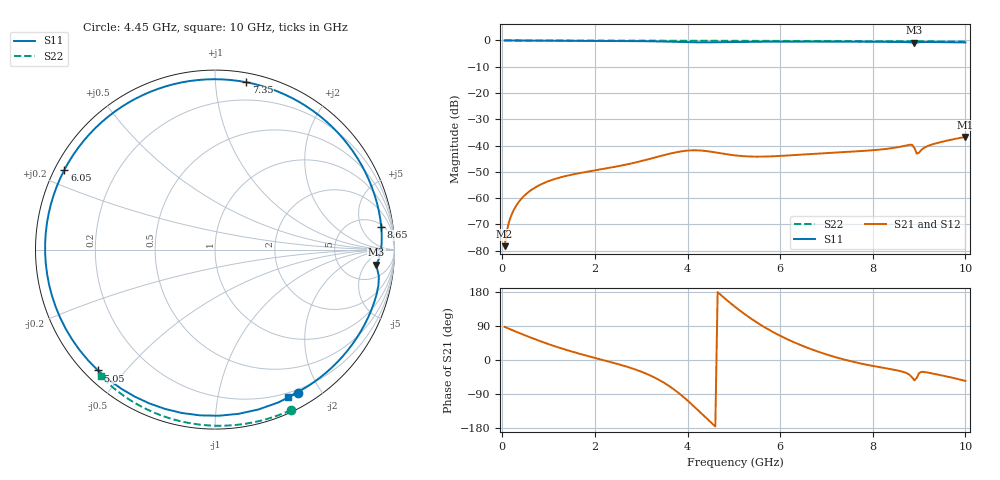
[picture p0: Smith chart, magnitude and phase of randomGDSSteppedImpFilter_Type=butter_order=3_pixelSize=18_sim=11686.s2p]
! freq	dB(S11)	phase(S11)	dB(S12)	phase(S12)
!  dB(S21)	phase(S21)	dB(S22)	phase(S22)
!S-par simulation data
#  GHz  S  DB  R 50
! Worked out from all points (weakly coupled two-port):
!   200 points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, 50 MHz to 10 GHz, reference 50 ohm
!   highest |S21| = -36.72 dB at 10 GHz (marker M1); lowest = -78.3 dB at 50 MHz (marker M2)
!   lowest |S11| = -0.9 dB at 8.9 GHz (marker M3), VSWR 19.46, Z = 538 - j483 ohm
!   |S11| at or under -10 dB: nowhere
!   |S22| runs from -0.4 to 0.0 dB; largest |S21 - S12| = 0
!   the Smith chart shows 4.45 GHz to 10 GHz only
!   S11 on the Smith chart (normalised r, x): 4.45 GHz: 0.16, -1.72; 5.05 GHz: 0.04, -0.42; 6.05 GHz: 0.03, +0.25; 7.35 GHz: 0.06, +1.20; 8.65 GHz: 6, +12; 10 GHz: 0.16, -1.61
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0.05  -0.00 -4.4  -78.31 87.5  -78.31 87.5  -0.00 -0.8
0.2  -0.03 -17.6  -66.35 79.6  -66.35 79.6  -0.00 -3.1
0.5  -0.06 -43.2  -58.69 64.7  -58.69 64.7  -0.01 -7.6
1.1  -0.11 -90.5  -52.93 37.7  -52.93 37.7  -0.02 -16.7
1.75  -0.14 -135.5  -50.24 13.7  -50.24 13.7  -0.03 -26.3
2.65  -0.21 164.3  -47.35 -16.2  -47.35 -16.2  -0.05 -39.5
3.05  -0.28 132.7  -45.70 -33.2  -45.70 -33.2  -0.06 -45.2
3.4  -0.39 98.3  -44.07 -53.6  -44.07 -53.6  -0.07 -50.1
3.7  -0.52 60.6  -42.76 -77.1  -42.76 -77.1  -0.07 -54.3
4  -0.67 14.2  -41.93 -107.0  -41.93 -107.0  -0.08 -58.5
4.2  -0.72 -19.5  -41.82 -129.5  -41.82 -129.5  -0.09 -61.2
4.45  -0.72 -60.0  -42.21 -158.5  -42.21 -158.5  -0.09 -64.6
4.7  -0.66 -95.1  -42.91 173.6  -42.91 173.6  -0.10 -67.9
5.05  -0.56 -134.1  -43.80 138.0  -43.80 138.0  -0.11 -72.6
5.5  -0.49 -171.7  -44.24 98.8  -44.24 98.8  -0.13 -78.4
6.05  -0.45 152.1  -43.91 60.9  -43.91 60.9  -0.15 -85.4
6.7  -0.44 115.0  -43.16 27.2  -43.16 27.2  -0.18 -93.5
7.35  -0.46 79.5  -42.51 2.2  -42.51 2.2  -0.22 -101.4
8.35  -0.52 24.5  -41.16 -23.3  -41.16 -23.3  -0.29 -113.2
8.65  -0.59 7.7  -40.27 -31.1  -40.27 -31.1  -0.31 -116.7
8.9  -0.89 -5.3  -40.93 -53.6  -40.93 -53.6  -0.33 -119.6
10  -0.76 -63.5  -36.72 -55.1  -36.72 -55.1  -0.45 -132.1
